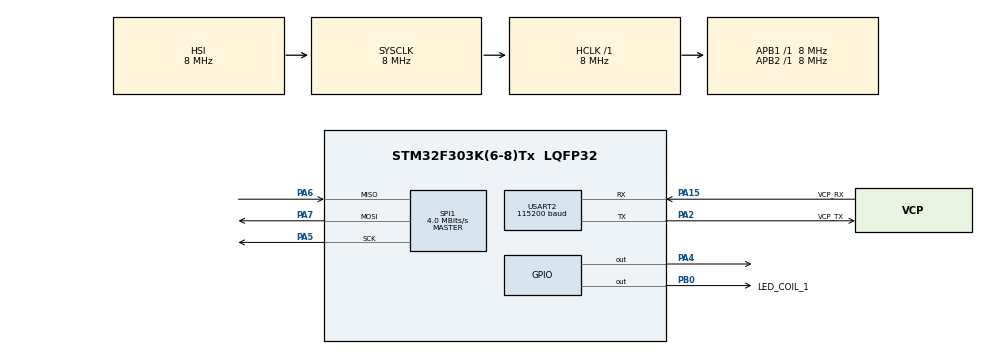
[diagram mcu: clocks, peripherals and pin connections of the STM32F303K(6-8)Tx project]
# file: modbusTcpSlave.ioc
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Mcu.Family=STM32F3
Mcu.Name=STM32F303K(6-8)Tx
Mcu.Package=LQFP32
NVIC.PriorityGroup=NVIC_PRIORITYGROUP_4
PA13.GPIO_Label=SWDIO
PA13.Mode=Serial_Wire
PA13.Signal=SYS_JTMS-SWDIO
PA14.GPIO_Label=SWCLK
PA14.Mode=Serial_Wire
PA14.Signal=SYS_JTCK-SWCLK
PA15.GPIO_Label=VCP_RX
PA15.Mode=Asynchronous
PA15.Signal=USART2_RX
PA2.GPIO_Label=VCP_TX
PA2.Mode=Asynchronous
PA2.Signal=USART2_TX
PA4.Signal=GPIO_Output
PA5.Mode=Full_Duplex_Master
PA5.Signal=SPI1_SCK
PA6.Mode=Full_Duplex_Master
PA6.Signal=SPI1_MISO
PA7.Mode=Full_Duplex_Master
PA7.Signal=SPI1_MOSI
PB0.GPIO_Label=LED_COIL_1
PB0.Signal=GPIO_Output
PF0\ /\ OSC_IN.GPIO_Label=MCO
PF0\ /\ OSC_IN.Mode=HSE-External-Clock-Source
PF0\ /\ OSC_IN.Signal=RCC_OSC_IN
ProjectManager.HeapSize=0x200
ProjectManager.StackSize=0x400
ProjectManager.TargetToolchain=STM32CubeIDE
RCC.AHBFreq_Value=8000000
RCC.APB1Freq_Value=8000000
RCC.APB2Freq_Value=8000000
RCC.CortexFreq_Value=8000000
RCC.HSE_VALUE=8000000
RCC.HSI_VALUE=8000000
RCC.SYSCLKFreq_VALUE=8000000
SPI1.CalculateBaudRate=4.0 MBits/s
SPI1.DataSize=SPI_DATASIZE_8BIT
SPI1.Direction=SPI_DIRECTION_2LINES
SPI1.Mode=SPI_MODE_MASTER
SPI1.VirtualType=VM_MASTER
USART2.BaudRate=115200
USART2.VirtualMode-Asynchronous=VM_ASYNC
board=NUCLEO-F303K8

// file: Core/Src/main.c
/* USER CODE BEGIN Header */
/**
 ******************************************************************************
 * @file           : main.c
 * @brief          : Main program body
 ******************************************************************************
 * @attention
 *
 * Copyright (c) 2025 STMicroelectronics.
 * All rights reserved.
 *
 * This software is licensed under terms that can be found in the LICENSE file
 * in the root directory of this software component.
 * If no LICENSE file comes with this software, it is provided AS-IS.
 *
 ******************************************************************************
 */
/* USER CODE END Header */
#include "main.h"

/* USER CODE BEGIN Includes */

#include "modbus/config.h"
#include "modbus/modbus.h"
#include "modbus/modbusMaster.h"
#include "modbus/db.h"

#include <stdarg.h>

#include <string.h>
#include <stdbool.h>
#include <stdio.h>
#include "wizchip_conf.h"
#include "socket.h"

/* USER CODE END Includes */

SPI_HandleTypeDef hspi1;

UART_HandleTypeDef huart2;

/* USER CODE BEGIN PV */

wiz_NetInfo net_info = {
		.mac  = {0xDE, 0xAD, 0xBE, 0xEF, 0xFE, 0xED},
		.ip   = {192, 168, 2, 99},
		.sn   = {255, 255, 255, 0},
		.gw   = {192, 168, 2, 1},
		.dns  = {8, 8, 8, 8},
		.dhcp = NETINFO_STATIC // Use static IP
		//    .dhcp = NETINFO_DHCP
};

#define MODBUS_TCP_PORT 502

/* USER CODE END PV */

void SystemClock_Config(void);
static void MX_GPIO_Init(void);
static void MX_USART2_UART_Init(void);
static void MX_SPI1_Init(void);

/* USER CODE BEGIN 0 */

// Buffer for received data
#define RX_BUFFER_SIZE 256 // Buffer size for receiving data
typedef struct uartStream
{
	uint8_t rxBuffer[RX_BUFFER_SIZE];
	uint8_t txBuffer[RX_BUFFER_SIZE];
	uint8_t rxByte;
	uint8_t rxFillIndex;
	uint8_t txFillIndex;
	uint8_t rxReadIndex;
	uint8_t txReadIndex;
	uint32_t lastByteTimestamp;
} uartStream;

uartStream uart2Stream;

void myPrintf(/*uint8_t debugLevel,*/ const char *format, ...)
{
	//	if (debugLevel <= DEBUG_LEVEL)
	{
		char buffer[128];
		va_list args;
		va_start(args, format);
		vsnprintf(buffer, sizeof(buffer), format, args);
		va_end(args);

		// Ensure the buffer does not overflow
		size_t length = strlen(buffer);
		size_t index = 0;
		while (length)
		{
			uart2Stream.txBuffer[uart2Stream.txFillIndex++] = buffer[index++];
			if (uart2Stream.txFillIndex >= RX_BUFFER_SIZE)
			{
				uart2Stream.txFillIndex = 0;  // Reset index on overflow
			}
			length--;
		}
	}

	while (uart2Stream.txFillIndex != uart2Stream.txReadIndex)
	{
		// Calculate the number of bytes to send

		// Send all available data from txBuffer
		HAL_UART_Transmit(&huart2, &uart2Stream.txBuffer[uart2Stream.txReadIndex], 1, HAL_MAX_DELAY);
		uart2Stream.txReadIndex++;

		// Prevent buffer overflow
		if (uart2Stream.txReadIndex >= RX_BUFFER_SIZE)
		{
			uart2Stream.txReadIndex = 0;  // Reset index on overflow
		}
	}
}

void wizchipSelect(void) {
	//	myPrintf("wizchipSelect\n");
	HAL_GPIO_WritePin(GPIOA, GPIO_PIN_4, GPIO_PIN_RESET);
}

void wizchipUnselect(void) {
	//	myPrintf("wizchipUnselect\n");
	HAL_GPIO_WritePin(GPIOA, GPIO_PIN_4, GPIO_PIN_SET);
}

void wizchipReadBurst(uint8_t* buff, uint16_t len) {
	//	myPrintf("wizchipReadBurst\n");
	HAL_SPI_Receive(&hspi1, buff, len, HAL_MAX_DELAY);
}

void wizchipWriteBurst(uint8_t* buff, uint16_t len) {
	//	myPrintf("wizchipWriteBurst\n");
	HAL_SPI_Transmit(&hspi1, buff, len, HAL_MAX_DELAY);
}

// single byte read
uint8_t wizchipReadByte(void) {
	//	myPrintf("wizchipReadByte\n");
	uint8_t byte;
	wizchipReadBurst(&byte, sizeof(byte));
	return byte;
}

// single byte write
void wizchipWriteByte(uint8_t byte) {
	//	myPrintf("wizchipWriteByte\n");
	wizchipWriteBurst(&byte, sizeof(byte));
}

//volatile bool ip_assigned = false;
//
//void Callback_IPAssigned(void) {
//	//	myPrintf("ipAddress assigned\n");
//	ip_assigned = true;
//}
//
//void Callback_IPConflict(void) {
//	ip_assigned = false;
//}

void wizChipInit()
{
	// registering function pointers
	reg_wizchip_cs_cbfunc(wizchipSelect, wizchipUnselect);
	reg_wizchip_spi_cbfunc(wizchipReadByte, wizchipWriteByte);
	reg_wizchip_spiburst_cbfunc(wizchipReadBurst, wizchipWriteBurst);

	myPrintf("wiznet functions registered\n");

	/*The W5500 has its own internal 32KB RAM for network data buffering
	 *(16 KB for RX, 16 KB for TX, or You can split each 16 KB block
	 * among the 8 sockets as needed).
	 */
	uint8_t rx_tx_buff_sizes[] = {2, 2, 2, 2, 2, 2, 2, 2};
	wizchip_init(rx_tx_buff_sizes, rx_tx_buff_sizes);
}

uint8_t checkLinkStatus(void)
{
	uint8_t phycfgr = getPHYCFGR();
	if (phycfgr & PHYCFGR_LNK_ON) {
		return 1; // Link is up
	} else {
		return 0; // Link is down
	}
}

/*
 * if master write something on registers, this callback gets triggered
 */
void slaveCallback(uint16_t regAddress, uint16_t numOfRegisters)
{
	myPrintf("slave data modified, regAddress=%d  no of registers=%d\n", regAddress, numOfRegisters);

	if(regAddress == 00001) //coil
	{
		bool tempVal;
		getCoilState(&modbusSlave, 1, &tempVal);
		myPrintf("coil-1 status changed to %d\n", tempVal);

		if (tempVal == 0)
		{
			HAL_GPIO_WritePin(GPIOB, GPIO_PIN_0, GPIO_PIN_RESET); // Turn off LED
		}
		else{
			HAL_GPIO_WritePin(GPIOB, GPIO_PIN_0, GPIO_PIN_SET); // Turn on LED
		}
	}
}

/* USER CODE END 0 */

int main(void)
{

  /* MCU Configuration--------------------------------------------------------*/

  /* Reset of all peripherals, Initializes the Flash interface and the Systick. */
  HAL_Init();

  /* Configure the system clock */
  SystemClock_Config();

  /* Initialize all configured peripherals */
  MX_GPIO_Init();
  MX_USART2_UART_Init();
  MX_SPI1_Init();
  /* USER CODE BEGIN 2 */

  wizChipInit();

  while (checkLinkStatus() == 0)
  {
	  myPrintf("Waiting for link to be established...\n");
	  HAL_Delay(1000); // Wait for 1 second before checking again
  }

  myPrintf("Link established, initializing W5500...\n");

  wizchip_setnetinfo(&net_info);   // configure net information

  const char TestString[] = "Hello World!";
  initModbusSlaveData(&modbusSlave, slaveID, numOfHoldingRegs, numOfInputRegs, numOfCoils, numOfDisInput);
  writeDataToHoldingRegisters(&modbusSlave, 40001, TestString, strlen(TestString));//writing TestString to holding register

	/**
	 * Creates a new socket for Modbus TCP communication.
	 * @param 0 : The socket number or channel. Typically, this is an integer value (0-7)
	 * 	representing the hardware socket/channel to use.
	 * @param Sn_MR_TCP : The protocol mode for the socket. This constant specifies the socket will operate in TCP mode.
	 * @param 502 :  The port number to bind the socket to. For Modbus TCP, the standard port is 502.
	 * @param SF_TCP_NODELAY :  Socket flag options. This controls socket behavior.
	 * @return :    Returns the socket descriptor (integer >= 0) on success, or a negative value on error.
	 */

	int modbus_sock = socket(0, Sn_MR_TCP, MODBUS_TCP_PORT, SF_TCP_NODELAY);

	if (modbus_sock != 0)
	{
		myPrintf("Failed to open Modbus TCP socket\r\n");
	}
	else
	{
		int8_t ret = listen(modbus_sock);
		if (ret != SOCK_OK)
		{
			myPrintf("Failed to listen on Modbus TCP socket: %d\r\n", ret);
			close(modbus_sock);
		}
		else
		{
			myPrintf("Modbus TCP server listening on port 502\r\n");
		}
	}

	uint8_t connectionStatus = 0;
  /* USER CODE END 2 */

  /* Infinite loop */
  /* USER CODE BEGIN WHILE */
	while (1)
	{

		if (checkLinkStatus() == 0)
		{
			if (connectionStatus != 0)
			{
				myPrintf("Ethernet link lost! Closing Modbus TCP connection.\r\n");
				connectionStatus = 0;
				disconnect(0);
			}
			while (checkLinkStatus() == 0)
			{
				myPrintf("Waiting for link to be established...\n");
				HAL_Delay(1000);
			}
			myPrintf("Ethernet link re-established.\n");
			// Re-listen after link is up
			int modbus_sock = socket(0, Sn_MR_TCP, 502, SF_TCP_NODELAY);
			if (modbus_sock == 0)
			{
				int8_t ret = listen(modbus_sock);
				if (ret == SOCK_OK)
				{
					myPrintf("Modbus TCP server re-listening on port 502\r\n");
				}
			}
			continue; // Skip rest of loop until link is up
		}

		// Check Modbus TCP socket connection status
		uint8_t sock_status = getSn_SR(0); //non blocking call
		if (sock_status == SOCK_ESTABLISHED)
		{
			if(connectionStatus == 0)
			{
				connectionStatus = 1; // Set connection status to connected
				myPrintf("Modbus TCP client connected\r\n");
			}

			if(connectionStatus == 1)
			{
				uint8_t modbus_rx_buf[260];
				int32_t recv_len = recv(0, modbus_rx_buf, sizeof(modbus_rx_buf)); //blocking call
				if (recv_len > 0)
				{
					myPrintf("Received %ld bytes from Modbus TCP client\r\n", recv_len);
					myPrintf("data received=");

					for(uint8_t index = 0; index < recv_len; index++)
					{
						myPrintf("%d,", modbus_rx_buf[index]);
					}
					myPrintf("\n");

					// Handle MBAP header (Modbus TCP)
					if (recv_len < 7)
					{
						myPrintf("Received packet too short for MBAP header\r\n");
						continue;
					}
					uint16_t transaction_id = (modbus_rx_buf[0] << 8) | modbus_rx_buf[1];//transaction id increments at each request send
					uint16_t protocol_id = (modbus_rx_buf[2] << 8) | modbus_rx_buf[3];//Which is always 0, in case of modbus tcp
					uint16_t length = (modbus_rx_buf[4] << 8) | modbus_rx_buf[5]; // length in bytes, includes unit id and onward
					uint8_t unit_id = modbus_rx_buf[6]; //slave ID

					myPrintf("MBAP: Transition ID=%u, Protocol ID=%u, LEN=%u, UID/Slave Id=%u\r\n",
							transaction_id, protocol_id, length, unit_id);

					// Optionally, check protocol_id == 0 and length is valid
					if (protocol_id != 0)
					{
						myPrintf("Invalid protocol ID in MBAP header\r\n");
						continue;
					}
					if (length + 6 > recv_len)
					{
						myPrintf("MBAP length field mismatch\r\n");
						continue;
					}

					uint8_t modbus_tx_buf[256] ={0};
					uint16_t respLen=0;
					handleModbusRequest(modbus_rx_buf+6, length, modbus_tx_buf, &respLen, &modbusSlave);

					// Add MBAP header before transmitting response
					uint8_t mbap_header[7];
					mbap_header[0] = (transaction_id >> 8) & 0xFF;
					mbap_header[1] = transaction_id & 0xFF;
					mbap_header[2] = (protocol_id >> 8) & 0xFF;
					mbap_header[3] = protocol_id & 0xFF;
					mbap_header[4] = ((respLen) >> 8) & 0xFF; // Length MSB
					mbap_header[5] = (respLen) & 0xFF; //length LSB
					mbap_header[6] = unit_id;

					// Shift response buffer to make space for MBAP header
					memmove(modbus_tx_buf + 6, modbus_tx_buf+0, respLen);
					memcpy(modbus_tx_buf, mbap_header, 7);
					respLen += 6;

					myPrintf("Sending response with MBAP header, total length: %d\r\n", respLen);

					// Echo back the received data (for testing)
					int32_t sent_len = send(0, modbus_tx_buf, respLen);
					myPrintf("Sent bytes: %d\r\n", sent_len);

					if (sent_len != respLen) {
						myPrintf("Failed to send all data back to client\r\n");
					}

				}
			}
			// You can add code here to handle Modbus TCP requests
		}
		else if (sock_status == SOCK_CLOSE_WAIT)
		{
			connectionStatus = 0;
			myPrintf("Modbus TCP client disconnected\r\n");
			disconnect(0);

			while (checkLinkStatus() == 0)
			{
				myPrintf("Waiting for link to be established...\n");
				HAL_Delay(1000); // Wait for 1 second before checking again
			}

		}
		else if (sock_status == SOCK_CLOSED)
		{
			// Re-listen if socket closed
			connectionStatus = 0;
			int modbus_sock = socket(0, Sn_MR_TCP, 502, SF_TCP_NODELAY);
			if (modbus_sock == 0)
			{
				int8_t ret = listen(modbus_sock);
				if (ret == SOCK_OK)
				{
					myPrintf("Modbus TCP server re-listening on port 502\r\n");
				}
			}
		}

//		myPrintf(".");
    /* USER CODE END WHILE */

	}
}

void SystemClock_Config(void)
{
  RCC_OscInitTypeDef RCC_OscInitStruct = {0};
  RCC_ClkInitTypeDef RCC_ClkInitStruct = {0};

  /** Initializes the RCC Oscillators according to the specified parameters
  * in the RCC_OscInitTypeDef structure.
  */
  RCC_OscInitStruct.OscillatorType = RCC_OSCILLATORTYPE_HSI;
  RCC_OscInitStruct.HSIState = RCC_HSI_ON;
  RCC_OscInitStruct.HSICalibrationValue = RCC_HSICALIBRATION_DEFAULT;
  RCC_OscInitStruct.PLL.PLLState = RCC_PLL_NONE;
  if (HAL_RCC_OscConfig(&RCC_OscInitStruct) != HAL_OK)
  {
    Error_Handler();
  }

  /** Initializes the CPU, AHB and APB buses clocks
  */
  RCC_ClkInitStruct.ClockType = RCC_CLOCKTYPE_HCLK|RCC_CLOCKTYPE_SYSCLK
                              |RCC_CLOCKTYPE_PCLK1|RCC_CLOCKTYPE_PCLK2;
  RCC_ClkInitStruct.SYSCLKSource = RCC_SYSCLKSOURCE_HSI;
  RCC_ClkInitStruct.AHBCLKDivider = RCC_SYSCLK_DIV1;
  RCC_ClkInitStruct.APB1CLKDivider = RCC_HCLK_DIV1;
  RCC_ClkInitStruct.APB2CLKDivider = RCC_HCLK_DIV1;

  if (HAL_RCC_ClockConfig(&RCC_ClkInitStruct, FLASH_LATENCY_0) != HAL_OK)
  {
    Error_Handler();
  }
}

static void MX_SPI1_Init(void)
{

  /* SPI1 parameter configuration*/
  hspi1.Instance = SPI1;
  hspi1.Init.Mode = SPI_MODE_MASTER;
  hspi1.Init.Direction = SPI_DIRECTION_2LINES;
  hspi1.Init.DataSize = SPI_DATASIZE_8BIT;
  hspi1.Init.CLKPolarity = SPI_POLARITY_LOW;
  hspi1.Init.CLKPhase = SPI_PHASE_1EDGE;
  hspi1.Init.NSS = SPI_NSS_SOFT;
  hspi1.Init.BaudRatePrescaler = SPI_BAUDRATEPRESCALER_2;
  hspi1.Init.FirstBit = SPI_FIRSTBIT_MSB;
  hspi1.Init.TIMode = SPI_TIMODE_DISABLE;
  hspi1.Init.CRCCalculation = SPI_CRCCALCULATION_DISABLE;
  hspi1.Init.CRCPolynomial = 7;
  hspi1.Init.CRCLength = SPI_CRC_LENGTH_DATASIZE;
  hspi1.Init.NSSPMode = SPI_NSS_PULSE_ENABLE;
  if (HAL_SPI_Init(&hspi1) != HAL_OK)
  {
    Error_Handler();
  }

}

static void MX_USART2_UART_Init(void)
{

  huart2.Instance = USART2;
  huart2.Init.BaudRate = 115200;
  huart2.Init.WordLength = UART_WORDLENGTH_8B;
  huart2.Init.StopBits = UART_STOPBITS_1;
  huart2.Init.Parity = UART_PARITY_NONE;
  huart2.Init.Mode = UART_MODE_TX_RX;
  huart2.Init.HwFlowCtl = UART_HWCONTROL_NONE;
  huart2.Init.OverSampling = UART_OVERSAMPLING_16;
  huart2.Init.OneBitSampling = UART_ONE_BIT_SAMPLE_DISABLE;
  huart2.AdvancedInit.AdvFeatureInit = UART_ADVFEATURE_NO_INIT;
  if (HAL_UART_Init(&huart2) != HAL_OK)
  {
    Error_Handler();
  }

}

static void MX_GPIO_Init(void)
{
  GPIO_InitTypeDef GPIO_InitStruct = {0};

  /* GPIO Ports Clock Enable */
  __HAL_RCC_GPIOF_CLK_ENABLE();
  __HAL_RCC_GPIOA_CLK_ENABLE();
  __HAL_RCC_GPIOB_CLK_ENABLE();

  /*Configure GPIO pin Output Level */
  HAL_GPIO_WritePin(GPIOA, GPIO_PIN_4, GPIO_PIN_RESET);

  /*Configure GPIO pin Output Level */
  HAL_GPIO_WritePin(LED_COIL_1_GPIO_Port, LED_COIL_1_Pin, GPIO_PIN_RESET);

  /*Configure GPIO pin : PA4 */
  GPIO_InitStruct.Pin = GPIO_PIN_4;
  GPIO_InitStruct.Mode = GPIO_MODE_OUTPUT_PP;
  GPIO_InitStruct.Pull = GPIO_NOPULL;
  GPIO_InitStruct.Speed = GPIO_SPEED_FREQ_LOW;
  HAL_GPIO_Init(GPIOA, &GPIO_InitStruct);

  /*Configure GPIO pin : LED_COIL_1_Pin */
  GPIO_InitStruct.Pin = LED_COIL_1_Pin;
  GPIO_InitStruct.Mode = GPIO_MODE_OUTPUT_PP;
  GPIO_InitStruct.Pull = GPIO_NOPULL;
  GPIO_InitStruct.Speed = GPIO_SPEED_FREQ_LOW;
  HAL_GPIO_Init(LED_COIL_1_GPIO_Port, &GPIO_InitStruct);

}

void Error_Handler(void)
{
	__disable_irq();
	while (1)
	{
	}
}
